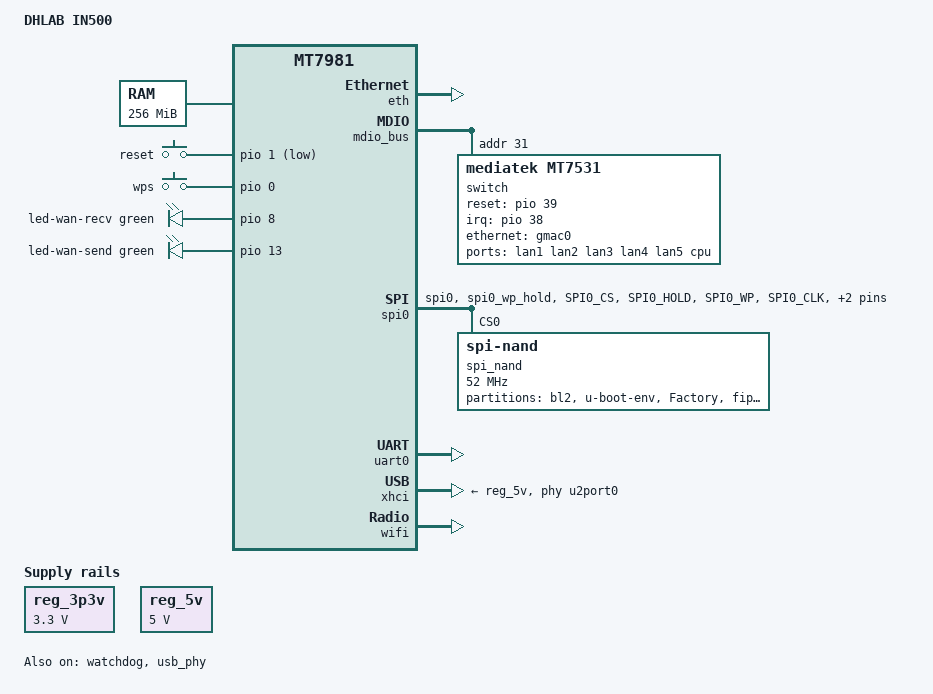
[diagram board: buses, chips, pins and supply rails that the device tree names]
// SPDX-License-Identifier: GPL-2.0-or-later OR MIT 

/dts-v1/;

#include "mt7981.dtsi"

/ {
	model = "DHLAB IN500";
	compatible = "dhlab,in500", "mediatek,mt7981";

	aliases {
		serial0 = &uart0;
	};

	chosen {
		stdout-path = "serial0:115200n8";
		bootargs = "earlycon=uart8250,mmio32,0x11002000 console=ttyS0,115200n8 loglevel=8";
	};

	memory {
		reg = <0 0x40000000 0 0x10000000>;
	};

	reg_3p3v: regulator-3p3v {
		compatible = "regulator-fixed";
		regulator-name = "fixed-3.3V";
		regulator-min-microvolt = <3300000>;
		regulator-max-microvolt = <3300000>;
		regulator-boot-on;
		regulator-always-on;
	};

	reg_5v: regulator-5v {
		compatible = "regulator-fixed";
		regulator-name = "fixed-5V";
		regulator-min-microvolt = <5000000>;
		regulator-max-microvolt = <5000000>;
		regulator-boot-on;
		regulator-always-on;
	};

	gpio-keys {
		compatible = "gpio-keys";

		button-reset {
            label = "reset";
            linux,code = <KEY_RESTART>;
            gpios = <&pio 1 GPIO_ACTIVE_LOW>;
        };

        button-wps {
            label = "wps";
            linux,code = <KEY_WPS_BUTTON>;
            gpios = <&pio 0 GPIO_ACTIVE_HIGH>;
        };
	};

	leds {
		compatible = "gpio-leds";

        led-wan-recv {
			color = <LED_COLOR_ID_GREEN>;
			function = LED_FUNCTION_WAN;
			gpios = <&pio 8 GPIO_ACTIVE_HIGH>;
		};

        led-wan-send {
            color = <LED_COLOR_ID_GREEN>;
            function = LED_FUNCTION_WAN;
            gpios = <&pio 13 GPIO_ACTIVE_HIGH>;
        };
	};
};

&eth {
	status = "okay";

	gmac0: mac@0 {
		/* LAN */
		compatible = "mediatek,eth-mac";
		reg = <0>;
		phy-mode = "2500base-x";

        nvmem-cells = <&macaddr_factory_28 0>;
		nvmem-cell-names = "mac-address";

		fixed-link {
			speed = <2500>;
			full-duplex;
			pause;
		};
	};

	gmac1: mac@1 {
		/* WAN */
		compatible = "mediatek,eth-mac";
		reg = <1>;
		phy-mode = "gmii";
		phy-handle = <&int_gbe_phy>;

        nvmem-cells = <&macaddr_factory_28 3>;
		nvmem-cell-names = "mac-address";
	};
};

&mdio_bus {
	switch: switch@1f {
		compatible = "mediatek,mt7531";
		reg = <31>;
		reset-gpios = <&pio 39 GPIO_ACTIVE_HIGH>;
		interrupt-controller;
		#interrupt-cells = <1>;
		interrupt-parent = <&pio>;
		interrupts = <38 IRQ_TYPE_LEVEL_HIGH>;
	};
};

&spi0 {
	pinctrl-names = "default";
	pinctrl-0 = <&spi0_flash_pins>;
	status = "okay";

	spi_nand@0 {
		compatible = "spi-nand";
		#address-cells = <1>;
		#size-cells = <1>;
		reg = <0>;

		spi-max-frequency = <52000000>;
		spi-tx-bus-width = <4>;
		spi-rx-bus-width = <4>;

		partitions {
			compatible = "fixed-partitions";
			#address-cells = <1>;
			#size-cells = <1>;

			partition@0 {
				label = "bl2";
				reg = <0x0000000 0x0100000>;
				read-only;
			};

			partition@100000 {
				label = "u-boot-env";
				reg = <0x100000 0x80000>;
			};

			partition@180000 {
				label = "Factory";
				reg = <0x180000 0x200000>;
				read-only;

                nvmem-layout {
					compatible = "fixed-layout";
					#address-cells = <1>;
					#size-cells = <1>;

					eeprom_factory_0: eeprom@0 {
						reg = <0x0 0x1000>;
					};

					macaddr_factory_28: macaddr@28 {
						compatible = "mac-base";
						reg = <0x28 0x6>;
						#nvmem-cell-cells = <1>;
					};
				};
			};

			partition@380000 {
				label = "fip";
				reg = <0x380000 0x200000>;
				read-only;
			};

			partition@580000 {
                compatible = "linux,ubi";
				label = "ubi";
				reg = <0x580000 0x4000000>;
			};
		};
	};
};

&switch {
	ports {
		#address-cells = <1>;
		#size-cells = <0>;

		port@0 {
			reg = <0>;
			label = "lan1";
		};

		port@1 {
			reg = <1>;
			label = "lan2";
		};

		port@2 {
			reg = <2>;
			label = "lan3";
		};

        port@3 {
            reg = <3>;
            label = "lan4";
        };

        port@4 {
            reg = <4>;
            label = "lan5";
        };

		port@6 {
			reg = <6>;
			label = "cpu";
			ethernet = <&gmac0>;
			phy-mode = "2500base-x";

			fixed-link {
				speed = <2500>;
				full-duplex;
				pause;
			};
		};
	};
};

&pio {
	spi0_flash_pins: spi0-pins {
		mux {
			function = "spi";
			groups = "spi0", "spi0_wp_hold";
		};

		conf-pu {
			pins = "SPI0_CS", "SPI0_HOLD", "SPI0_WP";
			drive-strength = <MTK_DRIVE_8mA>;
			bias-pull-up = <MTK_PUPD_SET_R1R0_11>;
		};

		conf-pd {
			pins = "SPI0_CLK", "SPI0_MOSI", "SPI0_MISO";
			drive-strength = <MTK_DRIVE_8mA>;
			bias-pull-down = <MTK_PUPD_SET_R1R0_11>;
		};
	};
};

&uart0 {
	status = "okay";
};

&watchdog {
	status = "okay";
};

&usb_phy {
	status = "okay";
};

&xhci {
	mediatek,u3p-dis-msk = <0x0>;
	phys = <&u2port0 PHY_TYPE_USB2>,
	       <&u3port0 PHY_TYPE_USB3>;
	status = "okay";
	vusb33-supply = <&reg_3p3v>;
	vbus-supply = <&reg_5v>;
};

&wifi {
	nvmem-cells = <&eeprom_factory_0>;
	nvmem-cell-names = "eeprom";
	status = "okay";
};
